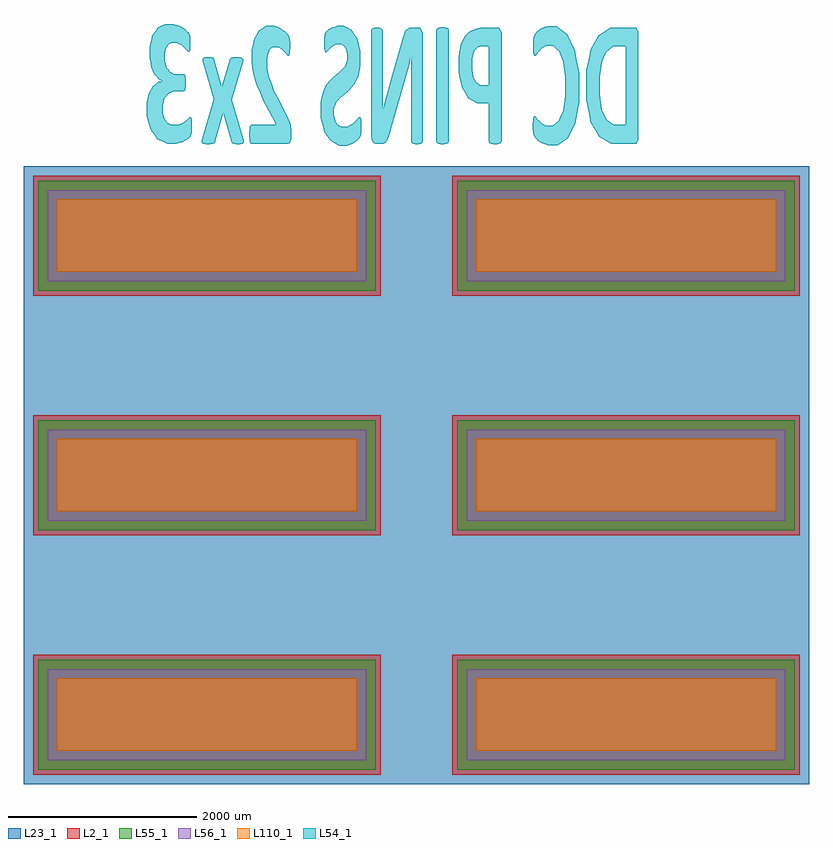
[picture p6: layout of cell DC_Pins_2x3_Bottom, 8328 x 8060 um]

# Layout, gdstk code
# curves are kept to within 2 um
import gdstk
lib = gdstk.Library(unit=1e-6, precision=1e-09)
def R(c, l, rs):  # rectangles x0, y0, x1, y1
    for r in rs: c.add(gdstk.rectangle(r[:2], r[2:], *l))
def A(c, l, x, y, w, h, nx, ny, dx, dy):  # array of equal rectangles
    R(c, l, [(x+i*dx, y+j*dy, x+i*dx+w, y+j*dy+h) for i in range(nx) for j in range(ny)])
def P(c, l, *ps):  # polygons
    for p in ps: c.add(gdstk.Polygon(p, *l))
L2_1 = (2, 1)
L23_1 = (23, 1)
L54_1 = (54, 1)
L55_1 = (55, 1)
L56_1 = (56, 1)
L110_1 = (110, 1)

dc_pins_2x3_bottom = lib.new_cell('DC_Pins_2x3_Bottom')
A(dc_pins_2x3_bottom, L2_1, 0, 0, 3683, 1270, 1, 3, 0, 2540)
A(dc_pins_2x3_bottom, L2_1, 4445, 0, 3683, 1270, 1, 3, 0, 2540)
R(dc_pins_2x3_bottom, L23_1, [(-100,-100,8228,6450)])
P(dc_pins_2x3_bottom, L54_1, [(3584.014,7881.239),(3589.125,7905.881),(3601.902,7917.254),(3625.412,7921.993),(3661.188,7921.993),(3684.698,7917.254),(3699.008,7905.881),(3705.142,7890.716),(3705.142,7240.552),(3702.075,7030.149),(3784.871,7341.963),(3923.375,7827.216),(3941.774,7877.448),(3962.728,7905.881),(3989.305,7918.201),(4101.232,7918.201),(4129.342,7873.657),(4129.342,6717.388),(4124.231,6702.224),(4110.943,6691.799),(4087.433,6686.112),(4051.146,6686.112),(4027.636,6691.799),(4013.837,6702.224),(4008.215,6717.388),(4008.215,7440.53),(4012.304,7644.299),(3955.573,7418.731),(3778.227,6797.948),(3757.783,6738.239),(3735.807,6703.172),(3709.741,6689.903),(3624.901,6689.903),(3605.991,6700.328),(3592.192,6723.075),(3584.014,6757.194)],
  [(5866.52,7468.963),(5910.474,7690.739),(5994.803,7841.433),(6117.974,7918.201),(6392.938,7918.201),(6415.937,7881.239),(6415.937,6728.761),(6392.938,6691.799),(6282.033,6691.799),(6282.033,7722.963),(6152.217,7722.963),(6076.065,7661.358),(6027.512,7551.418),(6005.536,7401.672),(6005.536,7208.328),(6030.579,7049.104),(6081.176,6942.007),(6156.817,6888.933),(6282.033,6888.933),(6282.033,6691.799),(6130.24,6691.799),(6002.98,6762.881),(5914.051,6914.522),(5866.52,7154.306)],
  [(5298.705,6911.679),(5304.838,6975.179),(5310.971,6982.761),(5322.726,6982.761),(5346.747,6952.433),(5384.056,6914.522),(5436.187,6883.246),(5511.316,6883.246),(5574.18,6933.478),(5618.644,7035.836),(5642.665,7194.112),(5642.665,7400.724),(5620.177,7558.052),(5576.735,7668.94),(5514.894,7728.649),(5439.764,7728.649),(5388.145,7695.478),(5350.836,7654.724),(5327.326,7621.552),(5315.06,7621.552),(5307.904,7632.925),(5302.794,7657.567),(5302.283,7788.358),(5310.46,7831.955),(5324.259,7857.545),(5359.013,7893.56),(5402.455,7921.045),(5453.564,7938.104),(5549.137,7938.104),(5662.086,7852.806),(5742.838,7687.896),(5787.813,7445.269),(5787.813,7135.351),(5746.927,6904.097),(5670.264,6749.612),(5560.892,6671.896),(5458.163,6671.896),(5398.367,6692.746),(5351.858,6724.022),(5319.659,6758.142),(5303.305,6797),(5298.705,6853.866)],
  [(1202.696,7125.97),(1224.898,7221.694),(1266.528,7297.515),(1326.474,7347.746),(1364.218,7355.328),(1364.218,7358.172),(1332.579,7371.44),(1284.289,7424.515),(1252.096,7500.336),(1235.444,7597.007),(1235.444,7724.955),(1263.752,7839.634),(1318.703,7918.299),(1399.186,7960),(1491.326,7960),(1559.598,7936.306),(1611.773,7902.187),(1646.186,7866.172),(1657.288,7848.164),(1665.613,7812.149),(1666.724,7780.873),(1664.503,7692.731),(1660.063,7673.776),(1653.402,7667.142),(1642.301,7667.142),(1613.993,7697.47),(1573.474,7732.537),(1522.409,7761.918),(1468.013,7761.918),(1430.269,7738.224),(1406.402,7697.47),(1394.191,7641.552),(1394.191,7569.522),(1411.952,7502.231),(1445.811,7454.843),(1495.766,7429.254),(1597.341,7429.254),(1606.777,7421.672),(1612.883,7402.716),(1615.658,7367.649),(1612.883,7273.821),(1606.222,7252.97),(1596.231,7246.336),(1487.44,7246.336),(1429.159,7219.799),(1390.86,7171.463),(1371.433,7103.224),(1371.433,7021.716),(1387.53,6958.216),(1420.278,6913.672),(1466.903,6889.03),(1533.51,6889.03),(1590.126,6914.619),(1632.31,6944),(1659.508,6969.59),(1673.939,6969.59),(1682.82,6934.522),(1682.82,6861.545),(1681.155,6822.687),(1672.274,6778.142),(1662.283,6762.978),(1630.09,6734.545),(1580.69,6708.007),(1516.303,6690),(1419.168,6690),(1317.038,6740.231),(1243.77,6836.903),(1202.696,6979.067)],
  [(3047.886,7133.455),(3072.418,7242.448),(3112.283,7323.007),(3163.391,7380.821),(3267.653,7467.067),(3308.028,7513.507),(3332.049,7573.216),(3332.049,7641.455),(3321.317,7690.739),(3299.34,7725.806),(3266.63,7745.709),(3216.544,7745.709),(3169.524,7720.119),(3133.748,7688.843),(3109.216,7662.306),(3097.972,7662.306),(3091.328,7673.679),(3086.217,7736.231),(3087.24,7821.53),(3093.373,7856.597),(3103.594,7875.552),(3135.282,7903.985),(3176.168,7926.731),(3223.188,7940),(3292.185,7940),(3373.447,7896.403),(3433.244,7808.261),(3468.509,7674.627),(3468.509,7509.716),(3443.977,7399.776),(3404.623,7319.216),(3354.537,7261.403),(3251.298,7175.157),(3211.944,7128.716),(3187.412,7069.007),(3187.412,6991.291),(3201.723,6932.53),(3228.81,6892.724),(3267.653,6870.925),(3329.494,6870.925),(3386.224,6902.201),(3427.111,6940.112),(3453.177,6971.388),(3465.443,6971.388),(3473.109,6960.963),(3477.709,6936.321),(3479.753,6896.515),(3479.753,6823.537),(3474.131,6777.097),(3460.843,6752.455),(3430.689,6720.231),(3385.713,6690.851),(3326.939,6670),(3242.098,6670),(3153.17,6719.284),(3086.729,6816.903),(3047.886,6962.858)],
  [(2291.991,6819.746),(2295.058,6858.604),(2301.191,6882.299),(2309.879,6893.672),(2575.643,6893.672),(2440.206,7147.672),(2369.676,7309.739),(2330.834,7443.373),(2318.568,7559),(2318.568,7686.948),(2343.611,7805.418),(2394.719,7891.664),(2471.893,7940),(2556.222,7940),(2616.53,7917.254),(2666.617,7884.082),(2700.859,7849.015),(2713.636,7826.269),(2718.747,7810.157),(2723.347,7758.978),(2723.347,7704.955),(2716.703,7633.873),(2710.059,7622.5),(2698.815,7622.5),(2675.305,7651.881),(2640.04,7686.948),(2593.531,7715.381),(2541.912,7715.381),(2510.225,7691.687),(2489.27,7649.985),(2478.537,7594.067),(2478.537,7528.672),(2487.226,7452.851),(2510.736,7362.813),(2552.645,7253.821),(2711.592,6940.112),(2724.369,6906.94),(2732.547,6871.873),(2735.613,6827.328),(2735.613,6762.881),(2731.013,6721.179),(2720.792,6699.381),(2704.437,6691.799),(2307.835,6691.799),(2299.657,6702.224),(2294.547,6726.866)],
  [(4512.656,7620.604),(4535.144,7740.97),(4578.075,7831.007),(4638.894,7889.769),(4698.18,7911.567),(4740.6,7918.201),(4940.434,7918.201),(4965.477,7873.657),(4965.477,6716.44),(4959.344,6701.276),(4944.012,6691.799),(4917.947,6686.112),(4878.593,6686.112),(4853.039,6691.799),(4837.706,6701.276),(4831.062,6716.44),(4831.062,7725.806),(4752.866,7725.806),(4713.512,7715.381),(4677.737,7675.575),(4653.204,7592.172),(4653.204,7480.336),(4667.515,7399.776),(4695.113,7341.963),(4738.556,7309.739),(4831.062,7309.739),(4831.062,7117.343),(4710.446,7117.343),(4613.851,7174.209),(4547.41,7283.201),(4512.656,7442.425)],
  [(4273.468,7884.082),(4273.468,7893.56),(4280.112,7908.724),(4295.445,7918.201),(4320.999,7923.888),(4360.353,7923.888),(4385.907,7918.201),(4401.751,7908.724),(4408.395,7893.56),(4408.395,6716.44),(4401.751,6701.276),(4386.418,6691.799),(4360.353,6686.112),(4320.999,6686.112),(4295.445,6691.799),(4280.112,6701.276),(4273.468,6716.44)],
  [(1914.81,7163.784),(1795.728,7566.582),(1795.216,7590.276),(1806.971,7603.545),(1834.059,7607.336),(1876.479,7607.336),(1899.478,7603.545),(1912.766,7595.963),(1918.899,7584.59),(2001.184,7294.575),(2085.002,7586.485),(2092.157,7598.806),(2107.489,7604.493),(2134.577,7607.336),(2182.108,7607.336),(2211.24,7601.649),(2224.528,7588.381),(2224.017,7564.687),(2219.417,7547.627),(2102.89,7157.149),(2233.727,6724.97),(2233.216,6704.119),(2220.95,6690.851),(2194.374,6686.112),(2150.421,6686.112),(2123.844,6688.955),(2109.023,6697.485),(2101.867,6709.806),(2015.494,7019.724),(1929.121,6709.806),(1921.454,6697.485),(1905.611,6688.955),(1829.97,6686.112),(1800.327,6690.851),(1786.017,6704.119),(1785.506,6724.97),(1789.594,6741.082)])
A(dc_pins_2x3_bottom, L55_1, 50.8, 50.8, 3581.4, 1168.4, 1, 3, 0, 2540)
A(dc_pins_2x3_bottom, L55_1, 4495.8, 50.8, 3581.4, 1168.4, 1, 3, 0, 2540)
A(dc_pins_2x3_bottom, L56_1, 150.8, 150.8, 3381.4, 968.4, 1, 3, 0, 2540)
A(dc_pins_2x3_bottom, L56_1, 4595.8, 150.8, 3381.4, 968.4, 1, 3, 0, 2540)
A(dc_pins_2x3_bottom, L110_1, 250.8, 250.8, 3181.4, 768.4, 1, 3, 0, 2540)
A(dc_pins_2x3_bottom, L110_1, 4695.8, 250.8, 3181.4, 768.4, 1, 3, 0, 2540)

lib.write_gds('DC_Pins_2x3_Bottom.gds')
